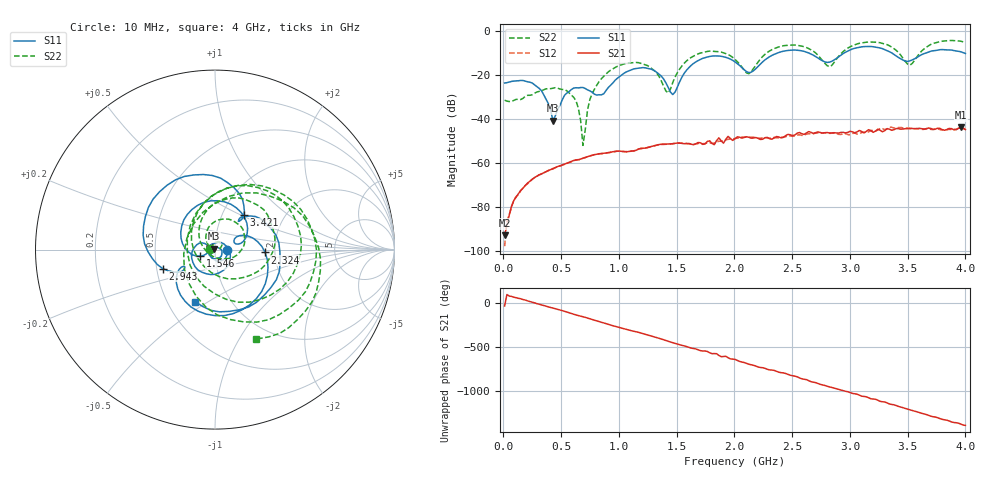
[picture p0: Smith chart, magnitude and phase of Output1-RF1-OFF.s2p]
! 9/28/2016 1:18:38 PM
! C:\USERS\ANRITSUUSER\DESKTOP\SWITCHES\OUTPUT1-RF1-OFF.S2P
! CHANNEL.1
! TR.MEASUREMENT
! CORRECTED.DATA
# GHZ S RI R 50.0
! FREQ.GHZ  S11RE  S11IM  S21RE  S21IM  S12RE  S12IM  S22RE  S22IM
!; PortSelection: Port_12
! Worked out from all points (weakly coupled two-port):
!   201 points, 10 MHz to 4 GHz, reference 50 ohm
!   highest |S21| = -43.83 dB at 3.96 GHz (marker M1); lowest = -92.9 dB at 10 MHz (marker M2)
!   lowest |S11| = -40.7 dB at 428.9 MHz (marker M3), VSWR 1.02, Z = 49.3 + j0.574 ohm
!   |S11| at or under -10 dB: start of sweep to 2.371 GHz; 2.646 GHz to 2.948 GHz (302.5 MHz wide, 10.8 % of centre); 3.365 GHz to 3.656 GHz (291.6 MHz wide, 8.31 % of centre)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
!   |S22| runs from -52.0 to -4.2 dB; largest |S21 - S12| = 0.0013
!   S11 on the Smith chart (normalised r, x): 10 MHz: 1.14, -0.01; 1.546 GHz: 0.84, -0.06; 2.324 GHz: 1.77, -0.06; 2.943 GHz: 0.54, -0.13; 3.421 GHz: 1.27, +0.52; 4 GHz: 0.69, -0.44
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0.01  0.0658 -0.0024  1.79e-05 -1.38e-05  1.27e-05 8e-07  -0.0262 0.00593
0.30925  -0.0152 -0.0474  0.000512 -0.000165  0.000502 -0.000172  0.00818 0.0418
0.42895  -0.00713 0.00582  0.000353 -0.000664  0.000342 -0.000642  0.0291 0.0411
0.62845  0.0282 -0.043  -0.000903 -0.000748  -0.000895 -0.000741  0.025 0.00661
0.6883  -0.00426 -0.0519  -0.00121 -0.00044  -0.0012 -0.000435  0.00241 0.000688
0.74815  -0.0329 -0.0287  -0.00144 9.8e-05  -0.00143 9.87e-05  -0.024 0.0137
0.90775  0.0337 0.0396  -0.000683 0.00158  -0.000675 0.00155  -0.0424 0.1102
1.34665  -0.1017 0.0269  0.00186 -0.00184  0.00181 -0.00183  0.0796 -0.0493
1.42645  -0.045 0.0272  0.000532 -0.00264  0.000528 -0.00262  -0.0248 -0.03
1.54615  -0.0828 -0.0364  -0.00162 -0.00225  -0.00163 -0.00229  -0.0852 0.1382
2.005  0.1791 0.089  0.000858 0.00344  0.00106 0.00344  0.1678 -0.1535
2.1247  0.1074 0.0385  0.00359 0.00135  0.00353 0.0015  -0.0943 -0.0513
2.3242  0.2792 -0.0158  0.00244 -0.00247  0.00251 -0.00277  0.1288 0.356
2.6833  -0.2155 -0.1845  -0.00468 0.000283  -0.00463 1.75e-05  0.1892 -0.2931
2.82295  -0.1678 -0.1022  -0.0026 0.00404  -0.00259 0.00393  -0.1541 -0.0142
2.94265  -0.2916 -0.1058  0.000894 0.00487  0.000611 0.0046  0.0588 0.3394
3.1621  -0.2667 0.3589  0.0057 -1.42e-05  0.005 0.000824  0.5656 -0.00181
3.34165  0.135 0.3128  0.00198 -0.00554  0.00296 -0.00573  0.2337 -0.4038
3.42145  0.1616 0.1914  -0.000932 -0.00594  -0.000736 -0.00636  -0.05 -0.321
3.6409  0.2545 0.1713  -0.00587 0.000366  -0.0058 0.000297  0.232 0.3158
3.9601  -0.0234 -0.3384  0.00314 0.00561  0.00284 0.00551  0.3608 -0.4667
4  -0.1109 -0.2901  0.00403 0.0041  0.00401 0.00455  0.2304 -0.4987
